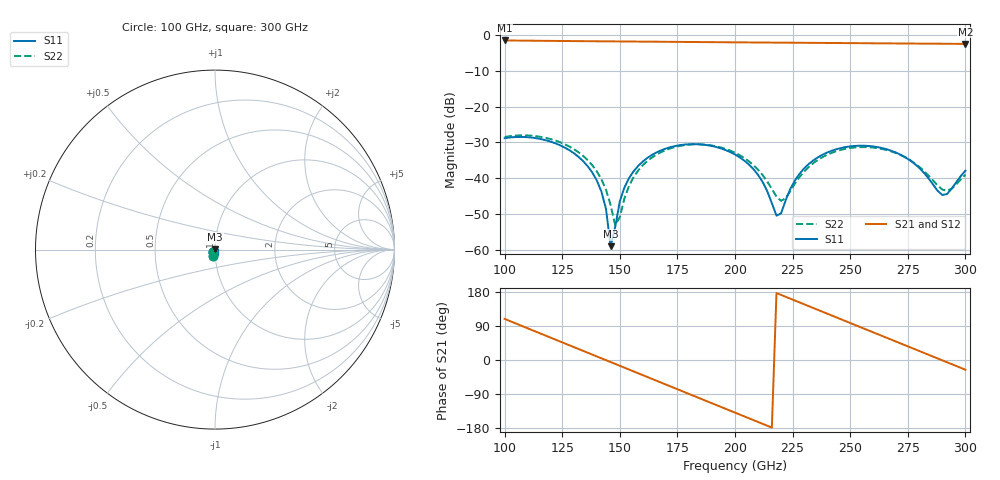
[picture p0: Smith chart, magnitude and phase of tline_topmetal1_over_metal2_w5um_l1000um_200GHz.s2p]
#  GHZ S DB R 50
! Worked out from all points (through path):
!   101 points, 100 GHz to 300 GHz, reference 50 ohm
!   highest |S21| = -1.50 dB at 100 GHz (marker M1); lowest = -2.5 dB at 300 GHz (marker M2)
!   group delay of S21, straight-line fit = 6.86 ps
!   lowest |S11| = -59.0 dB at 146 GHz (marker M3), VSWR 1.00, Z = 50 + j0.112 ohm
!   |S11| at or under -10 dB: start of sweep to end of sweep
!   |S22| runs from -53.2 to -28.0 dB; largest |S21 - S12| = 9.3e-14
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100  -28.83 -106.9  -1.50 108.5  -1.50 108.5  -28.50 -106.1
116  -29.11 -149.2  -1.60 68.8  -1.60 68.8  -28.50 -146.8
134  -35.19 162.3  -1.70 24.3  -1.70 24.3  -33.74 169.6
142  -43.73 137.5  -1.74 4.5  -1.74 4.5  -40.31 155.7
144  -48.58 127.4  -1.75 -0.4  -1.75 -0.4  -43.26 155.7
146  -59.03 92.7  -1.76 -5.4  -1.76 -5.4  -47.51 162.3
148  -53.68 -30.9  -1.77 -10.3  -1.77 -10.3  -53.18 -163.8
150  -46.50 -47.9  -1.78 -15.3  -1.78 -15.3  -50.89 -102.0
154  -40.02 -62.9  -1.80 -25.2  -1.80 -25.2  -42.20 -81.8
168  -32.21 -101.1  -1.86 -59.8  -1.86 -59.8  -32.71 -106.4
184  -30.53 -141.3  -1.94 -99.4  -1.94 -99.4  -30.54 -143.3
200  -33.39 -178.7  -2.02 -138.9  -2.02 -138.9  -32.90 -178.0
210  -39.09 163.9  -2.07 -163.6  -2.07 -163.6  -37.64 167.4
218  -50.51 -159.1  -2.10 176.7  -2.10 176.7  -45.16 -172.7
222  -46.19 -95.2  -2.12 166.8  -2.12 166.8  -45.61 -128.6
228  -38.79 -88.7  -2.15 152.0  -2.15 152.0  -39.71 -104.3
234  -35.03 -97.9  -2.17 137.2  -2.17 137.2  -35.81 -107.8
252  -31.00 -135.8  -2.26 92.7  -2.26 92.7  -31.43 -141.1
268  -32.38 -168.9  -2.33 53.3  -2.33 53.3  -32.57 -172.9
278  -36.02 176.0  -2.37 28.6  -2.37 28.6  -35.84 172.5
290  -44.72 -150.7  -2.42 -1.0  -2.42 -1.0  -43.20 -165.7
300  -37.91 -101.8  -2.46 -25.6  -2.46 -25.6  -39.02 -118.3
